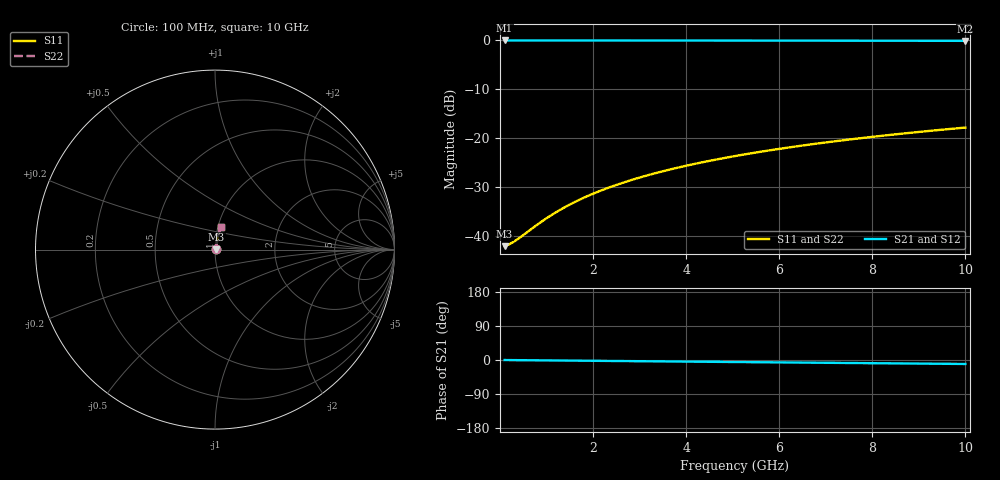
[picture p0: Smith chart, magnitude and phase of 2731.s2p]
# Hz S RI R 50.00
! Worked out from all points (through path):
!   100 points, 100 MHz to 10 GHz, reference 50 ohm
!   highest |S21| = -0.07 dB at 100 MHz (marker M1); lowest = -0.1 dB at 10 GHz (marker M2)
!   group delay of S21, straight-line fit = 2.91 ps
!   lowest |S11| = -42.0 dB at 100 MHz (marker M3), VSWR 1.02, Z = 50.8 + j0.13 ohm
!   |S11| at or under -10 dB: start of sweep to end of sweep
!   |S22| runs from -42.0 to -17.8 dB; largest |S21 - S12| = 0
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1e8  0.0078 0.00128  0.9922 -0.00182  0.9922 -0.00182  0.0078 0.00128
2e8  0.00786 0.00256  0.9921 -0.00365  0.9921 -0.00365  0.00786 0.00256
3e8  0.00791 0.00383  0.9921 -0.00547  0.9921 -0.00547  0.00791 0.00383
4e8  0.00795 0.00511  0.992 -0.00729  0.992 -0.00729  0.00795 0.00511
9e8  0.00821 0.0115  0.9918 -0.0164  0.9918 -0.0164  0.00821 0.0115
1.2e9  0.0084 0.0153  0.9916 -0.0219  0.9916 -0.0219  0.0084 0.0153
1.5e9  0.00863 0.0191  0.9913 -0.0273  0.9913 -0.0273  0.00863 0.0191
1.8e9  0.0089 0.023  0.991 -0.0328  0.991 -0.0328  0.0089 0.023
2.1e9  0.0092 0.0268  0.9907 -0.0383  0.9907 -0.0383  0.0092 0.0268
2.5e9  0.00967 0.0319  0.9902 -0.0455  0.9902 -0.0455  0.00967 0.0319
2.9e9  0.0102 0.0369  0.9897 -0.0528  0.9897 -0.0528  0.0102 0.0369
3.4e9  0.011 0.0433  0.9888 -0.0618  0.9888 -0.0618  0.011 0.0433
3.8e9  0.0117 0.0483  0.9881 -0.0691  0.9881 -0.0691  0.0117 0.0483
4.2e9  0.0125 0.0534  0.9873 -0.0763  0.9873 -0.0763  0.0125 0.0534
4.6e9  0.0133 0.0584  0.9864 -0.0835  0.9864 -0.0835  0.0133 0.0584
5.1e9  0.0145 0.0646  0.9851 -0.0925  0.9851 -0.0925  0.0145 0.0646
5.9e9  0.0166 0.0746  0.9829 -0.1068  0.9829 -0.1068  0.0166 0.0746
6.7e9  0.0189 0.0845  0.9804 -0.1211  0.9804 -0.1211  0.0189 0.0845
7.5e9  0.0216 0.0943  0.9775 -0.1353  0.9775 -0.1353  0.0216 0.0943
8.4e9  0.0249 0.1052  0.974 -0.1511  0.974 -0.1511  0.0249 0.1052
9.2e9  0.0282 0.1147  0.9705 -0.1651  0.9705 -0.1651  0.0282 0.1147
1e10  0.0317 0.1242  0.9668 -0.1789  0.9668 -0.1789  0.0317 0.1242
